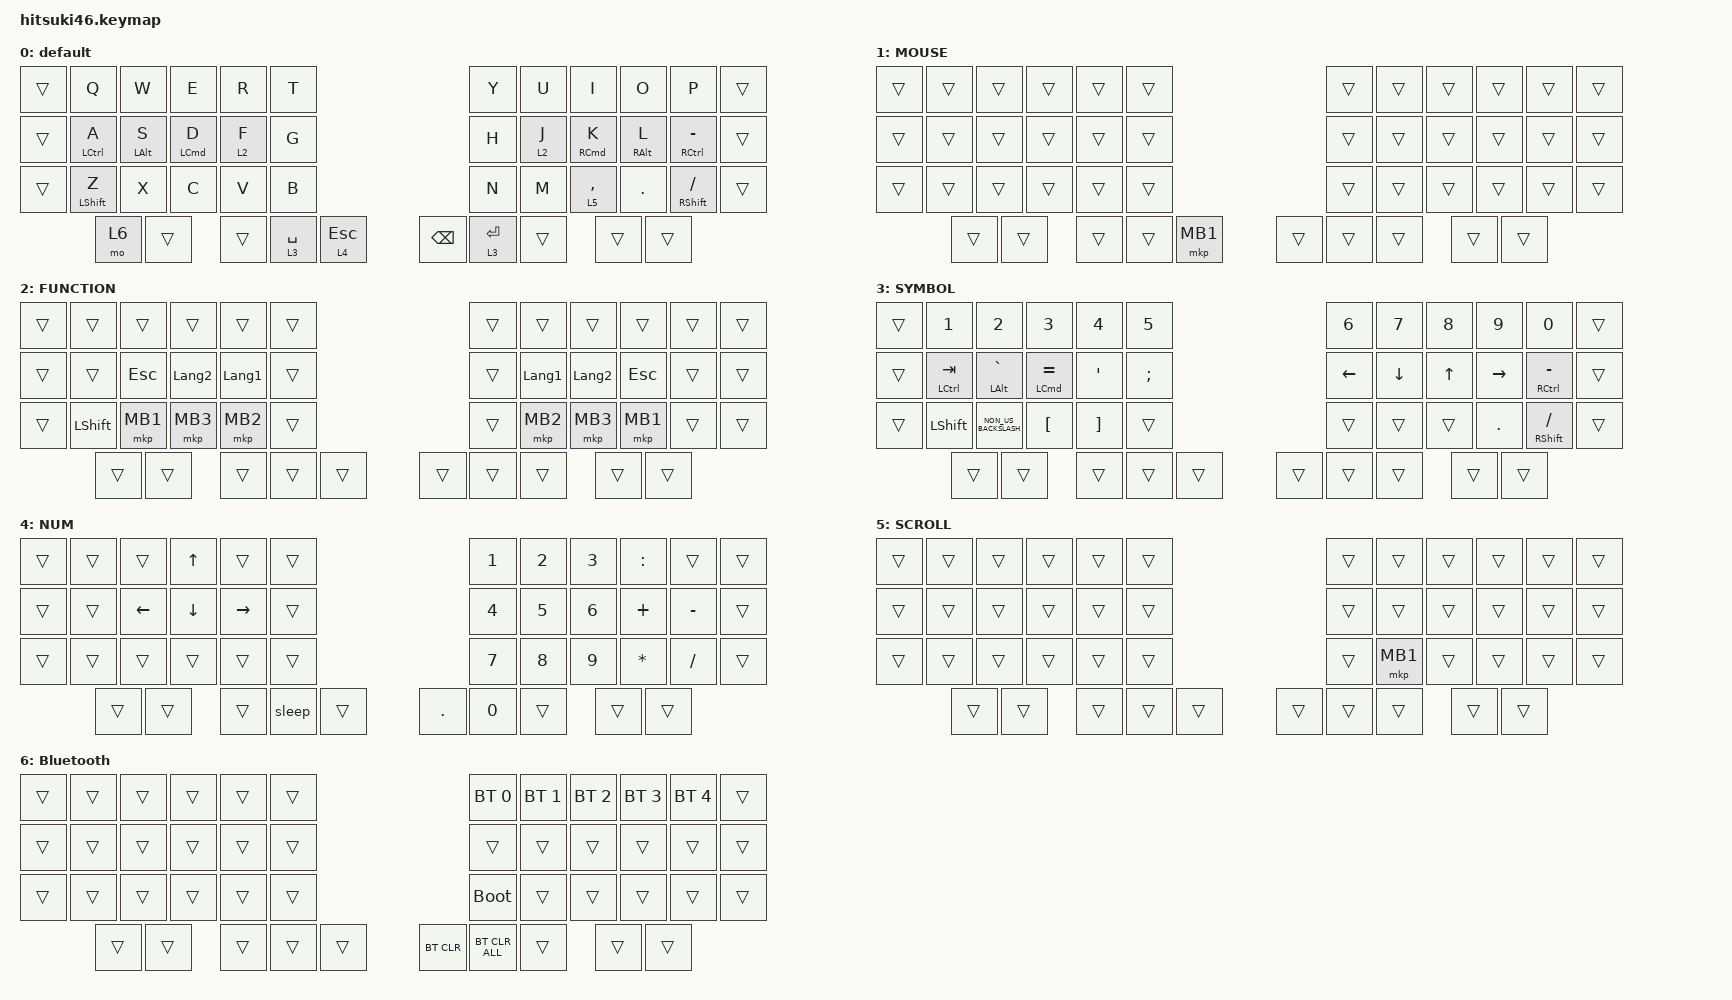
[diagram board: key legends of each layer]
#include <behaviors.dtsi>
#include <dt-bindings/zmk/bt.h>
#include <dt-bindings/zmk/keys.h>
#include <dt-bindings/zmk/pointing.h>

&mt {
    flavor = "balanced";
    quick-tap-ms = <0>;
};

// &trackball {
//     // Note: automouse-layer and scroll-layers are no longer supported in badjeff/zmk-pmw3610-driver
//     // These features should now be configured using layer-based zmk,input-listener in keymap
//     // automouse-layer = <1>;
//     // scroll-layers = <5>;
// };

/ {
    combos { compatible = "zmk,combos"; };

    macros {
        to_layer_0: to_layer_0 {
            compatible = "zmk,behavior-macro-one-param";
            #binding-cells = <1>;
            bindings = <&to 0 &macro_param_1to1 &kp MACRO_PLACEHOLDER>;
            label = "TO_LAYER_0";
        };

        sleep: sleep {
            compatible = "zmk,behavior-macro";
            #binding-cells = <0>;
            bindings =
                <&macro_press>,
                <&kp LEFT_WIN &kp LEFT_CONTROL>,
                <&macro_tap>,
                <&kp Q>;

            label = "SLEEP";
        };
    };

    behaviors {
        lt_to_layer_0: lt_to_layer_0 {
            compatible = "zmk,behavior-hold-tap";
            label = "LAYER_TAP_TO_0";
            bindings = <&mo>, <&to_layer_0>;

            #binding-cells = <2>;
            tapping-term-ms = <200>;
        };
    };

    keymap {
        compatible = "zmk,keymap";

        default {
            bindings = <
&trans  &kp Q               &kp W           &kp E               &kp R        &kp T         &kp Y          &kp U        &kp I        &kp O            &kp P                  &trans
&trans  &mt LEFT_CONTROL A  &mt LEFT_ALT S  &mt LEFT_COMMAND D  &lt 2 F      &kp G         &kp H          &lt 2 J      &mt RCMD K   &mt RIGHT_ALT L  &mt RCTRL MINUS        &trans
&trans  &mt LEFT_SHIFT Z    &kp X           &kp C               &kp V        &kp B         &kp N          &kp M        &lt 5 COMMA  &kp PERIOD       &mt RIGHT_SHIFT SLASH  &trans
        &mo 6               &trans          &trans              &lt 3 SPACE  &lt 4 ESCAPE  &kp BACKSPACE  &lt 3 ENTER  &trans       &trans           &trans
            >;
        };

        MOUSE {
            bindings = <
&trans  &trans  &trans  &trans  &trans  &trans    &trans  &trans  &trans  &trans  &trans  &trans
&trans  &trans  &trans  &trans  &trans  &trans    &trans  &trans  &trans  &trans  &trans  &trans
&trans  &trans  &trans  &trans  &trans  &trans    &trans  &trans  &trans  &trans  &trans  &trans
        &trans  &trans  &trans  &trans  &mkp MB1  &trans  &trans  &trans  &trans  &trans
            >;
        };

        FUNCTION {
            bindings = <
&trans  &trans          &trans      &trans          &trans          &trans  &trans  &trans          &trans          &trans      &trans  &trans
&trans  &trans          &kp ESCAPE  &kp LANGUAGE_2  &kp LANGUAGE_1  &trans  &trans  &kp LANGUAGE_1  &kp LANGUAGE_2  &kp ESCAPE  &trans  &trans
&trans  &kp LEFT_SHIFT  &mkp MB1    &mkp MB3        &mkp MB2        &trans  &trans  &mkp MB2        &mkp MB3        &mkp MB1    &trans  &trans
        &trans          &trans      &trans          &trans          &trans  &trans  &trans          &trans          &trans      &trans
            >;
        };

        SYMBOL {
            bindings = <
&trans  &kp N1                &kp N2                &kp N3                  &kp N4             &kp N5         &kp N6          &kp N7          &kp N8        &kp N9           &kp N0                   &trans
&trans  &mt LEFT_CONTROL TAB  &mt LEFT_ALT GRAVE    &mt LEFT_COMMAND EQUAL  &kp SQT            &kp SEMICOLON  &kp LEFT_ARROW  &kp DOWN_ARROW  &kp UP_ARROW  &kp RIGHT_ARROW  &mt RIGHT_CONTROL MINUS  &trans
&trans  &kp LEFT_SHIFT        &kp NON_US_BACKSLASH  &kp LEFT_BRACKET        &kp RIGHT_BRACKET  &trans         &trans          &trans          &trans        &kp PERIOD       &mt RIGHT_SHIFT SLASH    &trans
        &trans                &trans                &trans                  &trans             &trans         &trans          &trans          &trans        &trans           &trans
            >;
        };

        NUM {
            bindings = <
&trans  &trans  &trans    &kp UP    &trans     &trans  &kp NUMBER_1  &kp NUMBER_2  &kp NUMBER_3  &kp COLON     &trans     &trans
&trans  &trans  &kp LEFT  &kp DOWN  &kp RIGHT  &trans  &kp NUMBER_4  &kp NUMBER_5  &kp NUMBER_6  &kp PLUS      &kp MINUS  &trans
&trans  &trans  &trans    &trans    &trans     &trans  &kp NUMBER_7  &kp NUMBER_8  &kp NUMBER_9  &kp ASTERISK  &kp SLASH  &trans
        &trans  &trans    &trans    &sleep     &trans  &kp PERIOD    &kp NUMBER_0  &trans        &trans        &trans
            >;
        };

        SCROLL {
            bindings = <
&trans  &trans  &trans  &trans  &trans  &trans  &trans  &trans    &trans  &trans  &trans  &trans
&trans  &trans  &trans  &trans  &trans  &trans  &trans  &trans    &trans  &trans  &trans  &trans
&trans  &trans  &trans  &trans  &trans  &trans  &trans  &mkp MB1  &trans  &trans  &trans  &trans
        &trans  &trans  &trans  &trans  &trans  &trans  &trans    &trans  &trans  &trans
            >;
        };

        Bluetooth {
            bindings = <
&trans  &trans  &trans  &trans  &trans  &trans  &bt BT_SEL 0  &bt BT_SEL 1    &bt BT_SEL 2  &bt BT_SEL 3  &bt BT_SEL 4  &trans
&trans  &trans  &trans  &trans  &trans  &trans  &trans        &trans          &trans        &trans        &trans        &trans
&trans  &trans  &trans  &trans  &trans  &trans  &bootloader   &trans          &trans        &trans        &trans        &trans
        &trans  &trans  &trans  &trans  &trans  &bt BT_CLR    &bt BT_CLR_ALL  &trans        &trans        &trans
            >;
        };
    };
};
